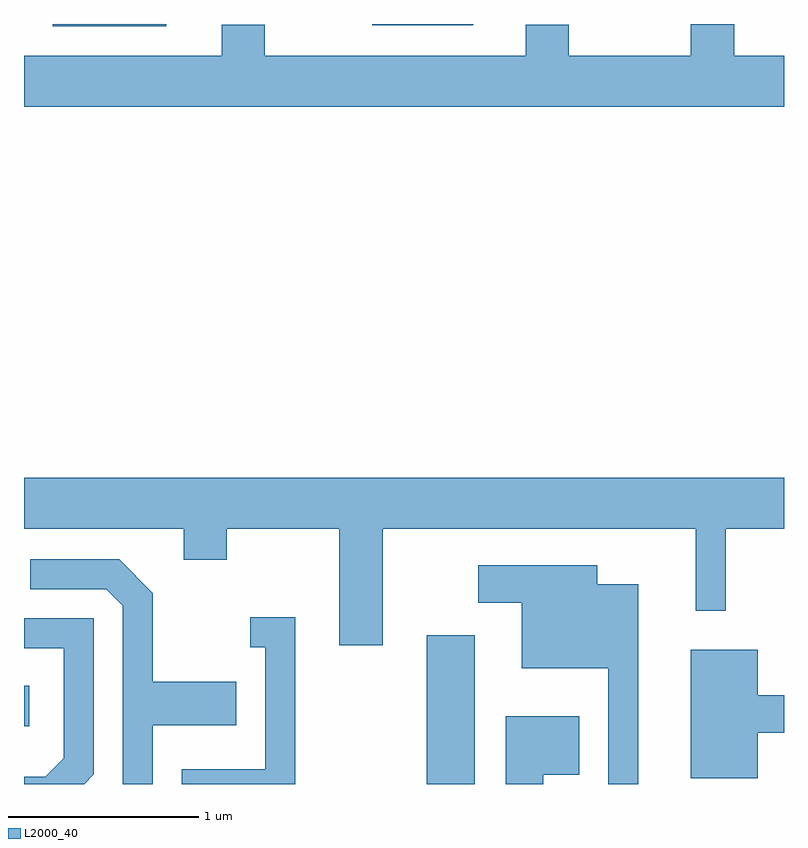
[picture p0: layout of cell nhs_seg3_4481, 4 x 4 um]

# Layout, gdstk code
import gdstk
lib = gdstk.Library(unit=1e-6, precision=1e-09)
def R(c, l, rs):  # rectangles x0, y0, x1, y1
    for r in rs: c.add(gdstk.rectangle(r[:2], r[2:], *l))
def P(c, l, *ps):  # polygons
    for p in ps: c.add(gdstk.Polygon(p, *l))
L2000_40 = (2000, 40)

nhs_seg3_4481 = lib.new_cell('nhs_seg3_4481')
R(nhs_seg3_4481, L2000_40, [(317.731,1237.892,317.984,1238.674), (315.611,1238.196,315.639,1238.409), (315.763,1241.881,316.359,1241.892)])
P(nhs_seg3_4481, L2000_40, [(319.611,1241.724),(319.349,1241.724),(319.349,1241.892),(319.121,1241.892),(319.121,1241.724),(318.479,1241.724),(318.479,1241.889),(318.251,1241.889),(318.251,1241.724),(316.879,1241.724),(316.879,1241.889),(316.651,1241.889),(316.651,1241.724),(315.611,1241.724),(315.611,1241.456),(319.611,1241.456)],
  [(317.978,1241.892),(317.443,1241.892),(317.443,1241.886),(317.972,1241.886)],
  [(317.499,1239.236),(319.146,1239.236),(319.146,1238.803),(319.304,1238.803),(319.304,1239.236),(319.611,1239.236),(319.611,1239.504),(315.611,1239.504),(315.611,1239.236),(316.451,1239.236),(316.451,1239.071),(316.679,1239.071),(316.679,1239.236),(317.271,1239.236),(317.271,1238.621),(317.499,1238.621)],
  [(316.289,1238.201),(316.729,1238.201),(316.729,1238.429),(316.289,1238.429),(316.289,1238.897),(316.112,1239.074),(315.643,1239.074),(315.643,1238.916),(316.044,1238.916),(316.131,1238.829),(316.131,1237.892),(316.289,1237.892)],
  [(318.844,1238.944),(318.629,1238.944),(318.629,1239.044),(318.001,1239.044),(318.001,1238.846),(318.231,1238.846),(318.231,1238.501),(318.686,1238.501),(318.686,1237.892),(318.844,1237.892)],
  [(317.039,1238.769),(316.803,1238.769),(316.803,1238.611),(316.881,1238.611),(316.881,1237.969),(316.441,1237.969),(316.441,1237.892),(317.039,1237.892)],
  [(315.979,1237.944),(315.979,1238.764),(315.611,1238.764),(315.611,1238.606),(315.821,1238.606),(315.821,1238.027),(315.724,1237.929),(315.611,1237.929),(315.611,1237.892),(315.927,1237.892)],
  [(319.474,1238.161),(319.611,1238.161),(319.611,1238.359),(319.474,1238.359),(319.474,1238.599),(319.121,1238.599),(319.121,1237.921),(319.474,1237.921)],
  [(318.344,1237.941),(318.534,1237.941),(318.534,1238.249),(318.146,1238.249),(318.146,1237.892),(318.344,1237.892)])

lib.write_gds('nhs_seg3_4481.gds')
